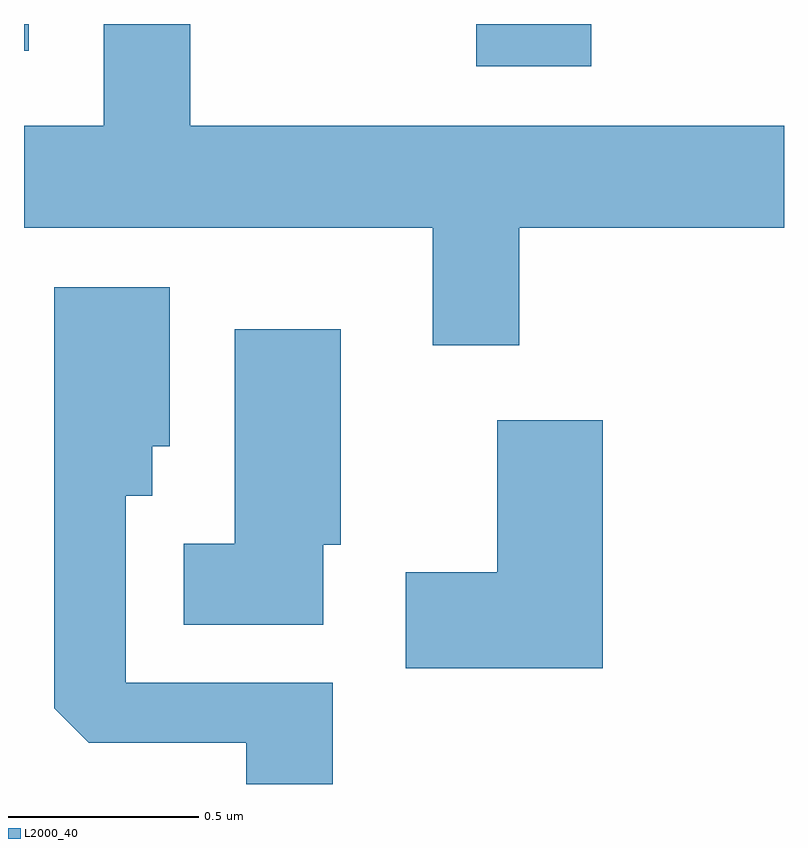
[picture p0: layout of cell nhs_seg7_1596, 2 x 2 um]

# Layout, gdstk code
import gdstk
lib = gdstk.Library(unit=1e-6, precision=1e-09)
def R(c, l, rs):  # rectangles x0, y0, x1, y1
    for r in rs: c.add(gdstk.rectangle(r[:2], r[2:], *l))
def P(c, l, *ps):  # polygons
    for p in ps: c.add(gdstk.Polygon(p, *l))
L2000_40 = (2000, 40)

nhs_seg7_1596 = lib.new_cell('nhs_seg7_1596')
R(nhs_seg7_1596, L2000_40, [(197.801,1759.141,198.104,1759.252), (196.611,1759.181,196.624,1759.252)])
P(nhs_seg7_1596, L2000_40, [(197.914,1758.716),(198.611,1758.716),(198.611,1758.984),(197.049,1758.984),(197.049,1759.252),(196.821,1759.252),(196.821,1758.984),(196.611,1758.984),(196.611,1758.716),(197.686,1758.716),(197.686,1758.406),(197.914,1758.406)],
  [(197.424,1757.519),(196.879,1757.519),(196.879,1758.011),(196.949,1758.011),(196.949,1758.141),(196.994,1758.141),(196.994,1758.559),(196.691,1758.559),(196.691,1757.452),(196.782,1757.361),(197.196,1757.361),(197.196,1757.252),(197.424,1757.252)],
  [(197.399,1757.881),(197.444,1757.881),(197.444,1758.449),(197.166,1758.449),(197.166,1757.884),(197.031,1757.884),(197.031,1757.671),(197.399,1757.671)],
  [(198.134,1758.209),(197.856,1758.209),(197.856,1757.809),(197.616,1757.809),(197.616,1757.556),(198.134,1757.556)])

lib.write_gds('nhs_seg7_1596.gds')
